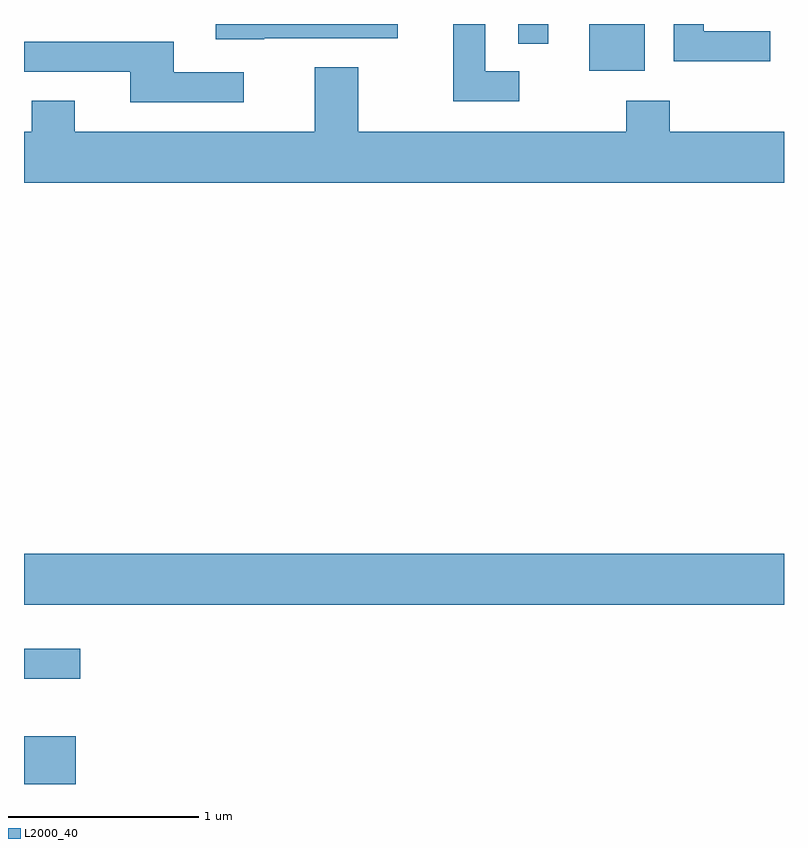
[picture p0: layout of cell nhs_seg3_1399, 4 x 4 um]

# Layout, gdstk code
import gdstk
lib = gdstk.Library(unit=1e-6, precision=1e-09)
def R(c, l, rs):  # rectangles x0, y0, x1, y1
    for r in rs: c.add(gdstk.rectangle(r[:2], r[2:], *l))
def P(c, l, *ps):  # polygons
    for p in ps: c.add(gdstk.Polygon(p, *l))
L2000_40 = (2000, 40)

nhs_seg3_1399 = lib.new_cell('nhs_seg3_1399')
R(nhs_seg3_1399, L2000_40, [(225.611,1193.892,225.884,1194.144), (225.611,1194.446,225.908,1194.604), (225.611,1194.836,229.611,1195.104), (228.586,1197.646,228.879,1197.892), (228.211,1197.788,228.369,1197.892)])
P(nhs_seg3_1399, L2000_40, [(226.875,1197.816),(227.579,1197.816),(227.579,1197.892),(226.621,1197.892),(226.621,1197.811),(226.875,1197.811)],
  [(228.218,1197.644),(228.039,1197.644),(228.039,1197.892),(227.871,1197.892),(227.871,1197.486),(228.218,1197.486)],
  [(229.538,1197.854),(229.189,1197.854),(229.189,1197.892),(229.031,1197.892),(229.031,1197.696),(229.538,1197.696)],
  [(226.768,1197.639),(226.399,1197.639),(226.399,1197.799),(225.611,1197.799),(225.611,1197.641),(226.171,1197.641),(226.171,1197.481),(226.768,1197.481)],
  [(229.611,1197.324),(229.009,1197.324),(229.009,1197.489),(228.781,1197.489),(228.781,1197.324),(227.369,1197.324),(227.369,1197.664),(227.141,1197.664),(227.141,1197.324),(225.879,1197.324),(225.879,1197.489),(225.651,1197.489),(225.651,1197.324),(225.611,1197.324),(225.611,1197.056),(229.611,1197.056)])

lib.write_gds('nhs_seg3_1399.gds')
